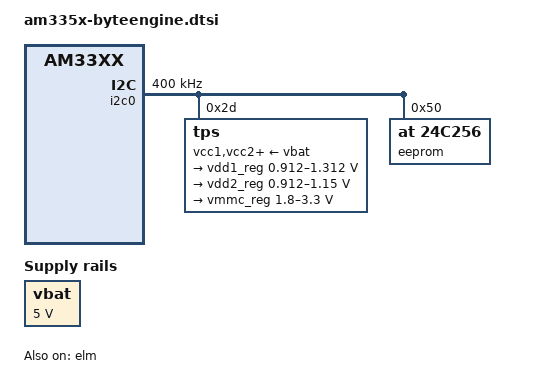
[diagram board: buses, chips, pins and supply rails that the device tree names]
// SPDX-License-Identifier: GPL-2.0
/*
 * Copyright (C) 2018 bytes at work AG
 *
 * Based on am335x-evm.dts
 *
 * Copyright (C) 2012 Texas Instruments Incorporated - http://www.ti.com/
 */

#include "am33xx.dtsi"
#include <dt-bindings/interrupt-controller/irq.h>
#include <dt-bindings/net/ti-dp83867.h>

/ {
	compatible = "bytesatwork,byteengine-am335x", "ti,am33xx";

	chosen {
		tick-timer = &timer2;
	};

	cpus {
		cpu@0 {
			cpu0-supply = <&vdd1_reg>;
		};
	};

	memory {
		device_type = "memory";
	};

	vbat: fixedregulator@0 {
		compatible = "regulator-fixed";
		regulator-name = "vbat";
		regulator-min-microvolt = <5000000>;
		regulator-max-microvolt = <5000000>;
		regulator-boot-on;
	};
};

&am33xx_pinmux {
	pinctrl-names = "default";
	pinctrl-0 = <&clkout2_pin>;

	i2c0_pins: pinmux_i2c0_pins {
		pinctrl-single,pins = <
			0x188 (PIN_INPUT_PULLUP | MUX_MODE0)	/* i2c0_sda.i2c0_sda */
			0x18c (PIN_INPUT_PULLUP | MUX_MODE0)	/* i2c0_scl.i2c0_scl */
		>;
	};

	clkout2_pin: pinmux_clkout2_pin {
		pinctrl-single,pins = <
			0x1b4 (PIN_OUTPUT_PULLDOWN | MUX_MODE3)	/* xdma_event_intr1.clkout2 */
		>;
	};

	nandflash_pins_s0: nandflash_pins_s0 {
		pinctrl-single,pins = <
			0x0 (PIN_INPUT_PULLUP | MUX_MODE0)	/* gpmc_ad0.gpmc_ad0 */
			0x4 (PIN_INPUT_PULLUP | MUX_MODE0)	/* gpmc_ad1.gpmc_ad1 */
			0x8 (PIN_INPUT_PULLUP | MUX_MODE0)	/* gpmc_ad2.gpmc_ad2 */
			0xc (PIN_INPUT_PULLUP | MUX_MODE0)	/* gpmc_ad3.gpmc_ad3 */
			0x10 (PIN_INPUT_PULLUP | MUX_MODE0)	/* gpmc_ad4.gpmc_ad4 */
			0x14 (PIN_INPUT_PULLUP | MUX_MODE0)	/* gpmc_ad5.gpmc_ad5 */
			0x18 (PIN_INPUT_PULLUP | MUX_MODE0)	/* gpmc_ad6.gpmc_ad6 */
			0x1c (PIN_INPUT_PULLUP | MUX_MODE0)	/* gpmc_ad7.gpmc_ad7 */
			0x70 (PIN_INPUT_PULLUP | MUX_MODE0)	/* gpmc_wait0.gpmc_wait0 */
			0x74 (PIN_INPUT_PULLUP | MUX_MODE7)	/* gpmc_wpn.gpio0_30 */
			0x7c (PIN_OUTPUT | MUX_MODE0)		/* gpmc_csn0.gpmc_csn0  */
			0x90 (PIN_OUTPUT | MUX_MODE0)		/* gpmc_advn_ale.gpmc_advn_ale */
			0x94 (PIN_OUTPUT | MUX_MODE0)		/* gpmc_oen_ren.gpmc_oen_ren */
			0x98 (PIN_OUTPUT | MUX_MODE0)		/* gpmc_wen.gpmc_wen */
			0x9c (PIN_OUTPUT | MUX_MODE0)		/* gpmc_be0n_cle.gpmc_be0n_cle */
		>;
	};

	mmc2_pins: pinmux_mmc2_pins {
		pinctrl-single,pins = <
			0x80 (PIN_INPUT_PULLUP | MUX_MODE2) /* gpmc_csn1.mmc1_clk */
			0x84 (PIN_INPUT_PULLUP | MUX_MODE2) /* gpmc_csn2.mmc1_cmd */
			0x00 (PIN_INPUT_PULLUP | MUX_MODE1) /* gpmc_ad0.mmc1_dat0 */
			0x04 (PIN_INPUT_PULLUP | MUX_MODE1) /* gpmc_ad1.mmc1_dat1 */
			0x08 (PIN_INPUT_PULLUP | MUX_MODE1) /* gpmc_ad2.mmc1_dat2 */
			0x0c (PIN_INPUT_PULLUP | MUX_MODE1) /* gpmc_ad3.mmc1_dat3 */
			0x10 (PIN_INPUT_PULLUP | MUX_MODE1) /* gpmc_ad4.mmc1_dat4 */
			0x14 (PIN_INPUT_PULLUP | MUX_MODE1) /* gpmc_ad5.mmc1_dat5 */
			0x18 (PIN_INPUT_PULLUP | MUX_MODE1) /* gpmc_ad6.mmc1_dat6 */
			0x1c (PIN_INPUT_PULLUP | MUX_MODE1) /* gpmc_ad7.mmc1_dat7 */
		>;
	};

	spi0_pins: pinmux_spi0_pins {
		pinctrl-single,pins = <
			0x150 ( PIN_INPUT | MUX_MODE0 )		/* (A17) spi0_sclk.spi0_sclk */
			0x154 ( PIN_INPUT | MUX_MODE0 )		/* (B17) spi0_d0.spi0_d0 */
			0x158 ( PIN_OUTPUT | MUX_MODE0 )	/* (B16) spi0_d1.spi0_d1 */
			0x15C ( PIN_OUTPUT | MUX_MODE0 )	/* (A16) spi0_cs0.spi0_cs0 */
		>;
	};
};

&i2c0 {
	pinctrl-names = "default";
	pinctrl-0 = <&i2c0_pins>;
	status = "okay";

	clock-frequency = <400000>;

	tps: tps@2d {
		reg = <0x2d>;
	};

	eeprom: eeprom@50 {
		compatible = "at,24c256";
		reg = <0x50>;
	};
};

&cppi41dma  {
	status = "okay";
};

&elm {
	status = "okay";
};

&gpmc {
	pinctrl-names = "default";
	pinctrl-0 = <&nandflash_pins_s0>;
	status = "disabled";

	ranges = <0 0 0x08000000 0x10000000>;	/* CS0: 16MB for NAND */
	nand@0,0 {
		reg = <0 0 4>; /* CS0, offset 0, IO size 4 */
		ti,nand-ecc-opt = "ham1";
		ti,elm-id = <&elm>;
		nand-bus-width = <8>;
		gpmc,device-width = <1>;
		gpmc,sync-clk-ps = <0>;
		gpmc,cs-on-ns = <0>;
		gpmc,cs-rd-off-ns = <44>;
		gpmc,cs-wr-off-ns = <44>;
		gpmc,adv-on-ns = <6>;
		gpmc,adv-rd-off-ns = <34>;
		gpmc,adv-wr-off-ns = <44>;
		gpmc,we-on-ns = <0>;
		gpmc,we-off-ns = <40>;
		gpmc,oe-on-ns = <0>;
		gpmc,oe-off-ns = <54>;
		gpmc,access-ns = <64>;
		gpmc,rd-cycle-ns = <82>;
		gpmc,wr-cycle-ns = <82>;
		gpmc,wait-on-read = "true";
		gpmc,wait-on-write = "true";
		gpmc,bus-turnaround-ns = <0>;
		gpmc,cycle2cycle-delay-ns = <0>;
		gpmc,clk-activation-ns = <0>;
		gpmc,wait-monitoring-ns = <0>;
		gpmc,wr-access-ns = <40>;
		gpmc,wr-data-mux-bus-ns = <0>;
	};
};

#include "tps65910.dtsi"

&tps {
	vcc1-supply = <&vbat>;
	vcc2-supply = <&vbat>;
	vcc3-supply = <&vbat>;
	vcc4-supply = <&vbat>;
	vcc5-supply = <&vbat>;
	vcc6-supply = <&vbat>;
	vcc7-supply = <&vbat>;
	vccio-supply = <&vbat>;

	regulators {
		vrtc_reg: regulator@0 {
			regulator-always-on;
		};

		vio_reg: regulator@1 {
			regulator-always-on;
		};

		vdd1_reg: regulator@2 {
			/* VDD_MPU voltage limits 0.95V - 1.26V with +/-4% tolerance */
			regulator-name = "vdd_mpu";
			regulator-min-microvolt = <912500>;
			regulator-max-microvolt = <1312500>;
			regulator-boot-on;
			regulator-always-on;
		};

		vdd2_reg: regulator@3 {
			/* VDD_CORE voltage limits 0.95V - 1.1V with +/-4% tolerance */
			regulator-name = "vdd_core";
			regulator-min-microvolt = <912500>;
			regulator-max-microvolt = <1150000>;
			regulator-boot-on;
			regulator-always-on;
		};

		vdd3_reg: regulator@4 {
			regulator-always-on;
		};

		vdig1_reg: regulator@5 {
			regulator-always-on;
		};

		vdig2_reg: regulator@6 {
			regulator-always-on;
		};

		vpll_reg: regulator@7 {
			regulator-always-on;
		};

		vdac_reg: regulator@8 {
			regulator-always-on;
		};

		vaux1_reg: regulator@9 {
			regulator-always-on;
		};

		vaux2_reg: regulator@10 {
			regulator-always-on;
		};

		vaux33_reg: regulator@11 {
			regulator-always-on;
		};

		vmmc_reg: regulator@12 {
			regulator-min-microvolt = <1800000>;
			regulator-max-microvolt = <3300000>;
			regulator-always-on;
		};
	};
};

&mmc2 {
	pinctrl-names = "default";
	pinctrl-0 = <&mmc2_pins>;
	status = "disabled";

	vmmc-supply = <&vmmc_reg>;
	bus-width = <8>;
	non-removable;
};

&edma {
	status = "okay";
};

&gpio0 {
	u-boot,dm-spl;
};

&spi0 {
	pinctrl-names = "default";
	pinctrl-0 = <&spi0_pins>;
	status = "disabled";
};
